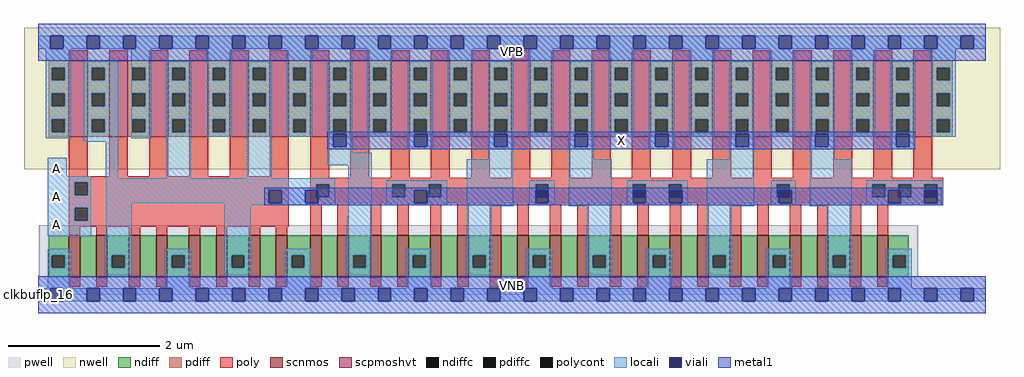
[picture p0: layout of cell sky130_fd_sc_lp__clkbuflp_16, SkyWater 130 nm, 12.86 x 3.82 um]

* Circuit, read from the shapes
.subckt sky130_fd_sc_lp__clkbuflp_16 A VGND VNB VPB VPWR X
XM1 n1 A VGND VNB sky130_fd_pr__nfet_01v8 w=0.55 l=0.15
XM2 n2 A n1 VNB sky130_fd_pr__nfet_01v8 w=0.55 l=0.15
XM3 n3 A n2 VNB sky130_fd_pr__nfet_01v8 w=0.55 l=0.15
XM4 VGND A n3 VNB sky130_fd_pr__nfet_01v8 w=0.55 l=0.15
XM5 n4 A VGND VNB sky130_fd_pr__nfet_01v8 w=0.55 l=0.15
XM6 n2 A n4 VNB sky130_fd_pr__nfet_01v8 w=0.55 l=0.15
XM7 n5 A n2 VNB sky130_fd_pr__nfet_01v8 w=0.55 l=0.15
XM8 VGND A n5 VNB sky130_fd_pr__nfet_01v8 w=0.55 l=0.15
XM9 n6 n2 VGND VNB sky130_fd_pr__nfet_01v8 w=0.55 l=0.15
XM10 X n2 n6 VNB sky130_fd_pr__nfet_01v8 w=0.55 l=0.15
XM11 n7 n2 X VNB sky130_fd_pr__nfet_01v8 w=0.55 l=0.15
XM12 VGND n2 n7 VNB sky130_fd_pr__nfet_01v8 w=0.55 l=0.15
XM13 n8 n2 VGND VNB sky130_fd_pr__nfet_01v8 w=0.55 l=0.15
XM14 X n2 n8 VNB sky130_fd_pr__nfet_01v8 w=0.55 l=0.15
XM15 n9 n2 X VNB sky130_fd_pr__nfet_01v8 w=0.55 l=0.15
XM16 VGND n2 n9 VNB sky130_fd_pr__nfet_01v8 w=0.55 l=0.15
XM17 n10 n2 VGND VNB sky130_fd_pr__nfet_01v8 w=0.55 l=0.15
XM18 X n2 n10 VNB sky130_fd_pr__nfet_01v8 w=0.55 l=0.15
XM19 n11 n2 X VNB sky130_fd_pr__nfet_01v8 w=0.55 l=0.15
XM20 VGND n2 n11 VNB sky130_fd_pr__nfet_01v8 w=0.55 l=0.15
XM21 n12 n2 VGND VNB sky130_fd_pr__nfet_01v8 w=0.55 l=0.15
XM22 X n2 n12 VNB sky130_fd_pr__nfet_01v8 w=0.55 l=0.15
XM23 n13 n2 X VNB sky130_fd_pr__nfet_01v8 w=0.55 l=0.15
XM24 VGND n2 n13 VNB sky130_fd_pr__nfet_01v8 w=0.55 l=0.15
XM25 n14 n2 VGND VNB sky130_fd_pr__nfet_01v8 w=0.55 l=0.15
XM26 X n2 n14 VNB sky130_fd_pr__nfet_01v8 w=0.55 l=0.15
XM27 n15 n2 X VNB sky130_fd_pr__nfet_01v8 w=0.55 l=0.15
XM28 VGND n2 n15 VNB sky130_fd_pr__nfet_01v8 w=0.55 l=0.15
XM29 n2 A VPWR VPB sky130_fd_pr__pfet_01v8_hvt w=1 l=0.25 m=6
XM30 X n2 VPWR VPB sky130_fd_pr__pfet_01v8_hvt w=1 l=0.25 m=16
.ends

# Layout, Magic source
magic
tech sky130A
magscale 1 2
<< nwell >>
rect -38 331 2534 704
<< pwell >>
rect 1 49 2319 183
rect 0 0 2496 49
<< scnmos >>
rect 80 47 110 157
rect 152 47 182 157
rect 238 47 268 157
rect 310 47 340 157
rect 396 47 426 157
rect 468 47 498 157
rect 554 47 584 157
rect 626 47 656 157
rect 716 47 746 157
rect 788 47 818 157
rect 874 47 904 157
rect 946 47 976 157
rect 1032 47 1062 157
rect 1104 47 1134 157
rect 1190 47 1220 157
rect 1262 47 1292 157
rect 1348 47 1378 157
rect 1420 47 1450 157
rect 1506 47 1536 157
rect 1578 47 1608 157
rect 1664 47 1694 157
rect 1736 47 1766 157
rect 1822 47 1852 157
rect 1894 47 1924 157
rect 1980 47 2010 157
rect 2052 47 2082 157
rect 2138 47 2168 157
rect 2210 47 2240 157
<< scpmoshvt >>
rect 80 417 130 617
rect 186 417 236 617
rect 292 417 342 617
rect 398 417 448 617
rect 504 417 554 617
rect 610 417 660 617
rect 716 417 766 617
rect 822 417 872 617
rect 928 417 978 617
rect 1034 417 1084 617
rect 1140 417 1190 617
rect 1246 417 1296 617
rect 1352 417 1402 617
rect 1458 417 1508 617
rect 1564 417 1614 617
rect 1670 417 1720 617
rect 1776 417 1826 617
rect 1882 417 1932 617
rect 1988 417 2038 617
rect 2094 417 2144 617
rect 2200 417 2250 617
rect 2306 417 2356 617
<< ndiff >>
rect 27 105 80 157
rect 27 71 35 105
rect 69 71 80 105
rect 27 47 80 71
rect 110 47 152 157
rect 182 105 238 157
rect 182 71 193 105
rect 227 71 238 105
rect 182 47 238 71
rect 268 47 310 157
rect 340 105 396 157
rect 340 71 351 105
rect 385 71 396 105
rect 340 47 396 71
rect 426 47 468 157
rect 498 105 554 157
rect 498 71 509 105
rect 543 71 554 105
rect 498 47 554 71
rect 584 47 626 157
rect 656 105 716 157
rect 656 71 667 105
rect 701 71 716 105
rect 656 47 716 71
rect 746 47 788 157
rect 818 105 874 157
rect 818 71 829 105
rect 863 71 874 105
rect 818 47 874 71
rect 904 47 946 157
rect 976 105 1032 157
rect 976 71 987 105
rect 1021 71 1032 105
rect 976 47 1032 71
rect 1062 47 1104 157
rect 1134 105 1190 157
rect 1134 71 1145 105
rect 1179 71 1190 105
rect 1134 47 1190 71
rect 1220 47 1262 157
rect 1292 105 1348 157
rect 1292 71 1303 105
rect 1337 71 1348 105
rect 1292 47 1348 71
rect 1378 47 1420 157
rect 1450 105 1506 157
rect 1450 71 1461 105
rect 1495 71 1506 105
rect 1450 47 1506 71
rect 1536 47 1578 157
rect 1608 105 1664 157
rect 1608 71 1619 105
rect 1653 71 1664 105
rect 1608 47 1664 71
rect 1694 47 1736 157
rect 1766 105 1822 157
rect 1766 71 1777 105
rect 1811 71 1822 105
rect 1766 47 1822 71
rect 1852 47 1894 157
rect 1924 105 1980 157
rect 1924 71 1935 105
rect 1969 71 1980 105
rect 1924 47 1980 71
rect 2010 47 2052 157
rect 2082 105 2138 157
rect 2082 71 2093 105
rect 2127 71 2138 105
rect 2082 47 2138 71
rect 2168 47 2210 157
rect 2240 105 2293 157
rect 2240 71 2251 105
rect 2285 71 2293 105
rect 2240 47 2293 71
<< pdiff >>
rect 27 599 80 617
rect 27 565 35 599
rect 69 565 80 599
rect 27 531 80 565
rect 27 497 35 531
rect 69 497 80 531
rect 27 463 80 497
rect 27 429 35 463
rect 69 429 80 463
rect 27 417 80 429
rect 130 599 186 617
rect 130 565 141 599
rect 175 565 186 599
rect 130 531 186 565
rect 130 497 141 531
rect 175 497 186 531
rect 130 463 186 497
rect 130 429 141 463
rect 175 429 186 463
rect 130 417 186 429
rect 236 599 292 617
rect 236 565 247 599
rect 281 565 292 599
rect 236 531 292 565
rect 236 497 247 531
rect 281 497 292 531
rect 236 463 292 497
rect 236 429 247 463
rect 281 429 292 463
rect 236 417 292 429
rect 342 599 398 617
rect 342 565 353 599
rect 387 565 398 599
rect 342 531 398 565
rect 342 497 353 531
rect 387 497 398 531
rect 342 463 398 497
rect 342 429 353 463
rect 387 429 398 463
rect 342 417 398 429
rect 448 599 504 617
rect 448 565 459 599
rect 493 565 504 599
rect 448 531 504 565
rect 448 497 459 531
rect 493 497 504 531
rect 448 463 504 497
rect 448 429 459 463
rect 493 429 504 463
rect 448 417 504 429
rect 554 599 610 617
rect 554 565 565 599
rect 599 565 610 599
rect 554 531 610 565
rect 554 497 565 531
rect 599 497 610 531
rect 554 463 610 497
rect 554 429 565 463
rect 599 429 610 463
rect 554 417 610 429
rect 660 599 716 617
rect 660 565 671 599
rect 705 565 716 599
rect 660 531 716 565
rect 660 497 671 531
rect 705 497 716 531
rect 660 463 716 497
rect 660 429 671 463
rect 705 429 716 463
rect 660 417 716 429
rect 766 599 822 617
rect 766 565 777 599
rect 811 565 822 599
rect 766 531 822 565
rect 766 497 777 531
rect 811 497 822 531
rect 766 463 822 497
rect 766 429 777 463
rect 811 429 822 463
rect 766 417 822 429
rect 872 599 928 617
rect 872 565 883 599
rect 917 565 928 599
rect 872 531 928 565
rect 872 497 883 531
rect 917 497 928 531
rect 872 463 928 497
rect 872 429 883 463
rect 917 429 928 463
rect 872 417 928 429
rect 978 599 1034 617
rect 978 565 989 599
rect 1023 565 1034 599
rect 978 531 1034 565
rect 978 497 989 531
rect 1023 497 1034 531
rect 978 463 1034 497
rect 978 429 989 463
rect 1023 429 1034 463
rect 978 417 1034 429
rect 1084 599 1140 617
rect 1084 565 1095 599
rect 1129 565 1140 599
rect 1084 531 1140 565
rect 1084 497 1095 531
rect 1129 497 1140 531
rect 1084 463 1140 497
rect 1084 429 1095 463
rect 1129 429 1140 463
rect 1084 417 1140 429
rect 1190 599 1246 617
rect 1190 565 1201 599
rect 1235 565 1246 599
rect 1190 531 1246 565
rect 1190 497 1201 531
rect 1235 497 1246 531
rect 1190 463 1246 497
rect 1190 429 1201 463
rect 1235 429 1246 463
rect 1190 417 1246 429
rect 1296 599 1352 617
rect 1296 565 1307 599
rect 1341 565 1352 599
rect 1296 531 1352 565
rect 1296 497 1307 531
rect 1341 497 1352 531
rect 1296 463 1352 497
rect 1296 429 1307 463
rect 1341 429 1352 463
rect 1296 417 1352 429
rect 1402 599 1458 617
rect 1402 565 1413 599
rect 1447 565 1458 599
rect 1402 531 1458 565
rect 1402 497 1413 531
rect 1447 497 1458 531
rect 1402 463 1458 497
rect 1402 429 1413 463
rect 1447 429 1458 463
rect 1402 417 1458 429
rect 1508 599 1564 617
rect 1508 565 1519 599
rect 1553 565 1564 599
rect 1508 531 1564 565
rect 1508 497 1519 531
rect 1553 497 1564 531
rect 1508 463 1564 497
rect 1508 429 1519 463
rect 1553 429 1564 463
rect 1508 417 1564 429
rect 1614 599 1670 617
rect 1614 565 1625 599
rect 1659 565 1670 599
rect 1614 531 1670 565
rect 1614 497 1625 531
rect 1659 497 1670 531
rect 1614 463 1670 497
rect 1614 429 1625 463
rect 1659 429 1670 463
rect 1614 417 1670 429
rect 1720 599 1776 617
rect 1720 565 1731 599
rect 1765 565 1776 599
rect 1720 531 1776 565
rect 1720 497 1731 531
rect 1765 497 1776 531
rect 1720 463 1776 497
rect 1720 429 1731 463
rect 1765 429 1776 463
rect 1720 417 1776 429
rect 1826 599 1882 617
rect 1826 565 1837 599
rect 1871 565 1882 599
rect 1826 531 1882 565
rect 1826 497 1837 531
rect 1871 497 1882 531
rect 1826 463 1882 497
rect 1826 429 1837 463
rect 1871 429 1882 463
rect 1826 417 1882 429
rect 1932 599 1988 617
rect 1932 565 1943 599
rect 1977 565 1988 599
rect 1932 531 1988 565
rect 1932 497 1943 531
rect 1977 497 1988 531
rect 1932 463 1988 497
rect 1932 429 1943 463
rect 1977 429 1988 463
rect 1932 417 1988 429
rect 2038 599 2094 617
rect 2038 565 2049 599
rect 2083 565 2094 599
rect 2038 531 2094 565
rect 2038 497 2049 531
rect 2083 497 2094 531
rect 2038 463 2094 497
rect 2038 429 2049 463
rect 2083 429 2094 463
rect 2038 417 2094 429
rect 2144 599 2200 617
rect 2144 565 2155 599
rect 2189 565 2200 599
rect 2144 531 2200 565
rect 2144 497 2155 531
rect 2189 497 2200 531
rect 2144 463 2200 497
rect 2144 429 2155 463
rect 2189 429 2200 463
rect 2144 417 2200 429
rect 2250 599 2306 617
rect 2250 565 2261 599
rect 2295 565 2306 599
rect 2250 531 2306 565
rect 2250 497 2261 531
rect 2295 497 2306 531
rect 2250 463 2306 497
rect 2250 429 2261 463
rect 2295 429 2306 463
rect 2250 417 2306 429
rect 2356 599 2409 617
rect 2356 565 2367 599
rect 2401 565 2409 599
rect 2356 531 2409 565
rect 2356 497 2367 531
rect 2401 497 2409 531
rect 2356 463 2409 497
rect 2356 429 2367 463
rect 2401 429 2409 463
rect 2356 417 2409 429
<< ndiffc >>
rect 35 71 69 105
rect 193 71 227 105
rect 351 71 385 105
rect 509 71 543 105
rect 667 71 701 105
rect 829 71 863 105
rect 987 71 1021 105
rect 1145 71 1179 105
rect 1303 71 1337 105
rect 1461 71 1495 105
rect 1619 71 1653 105
rect 1777 71 1811 105
rect 1935 71 1969 105
rect 2093 71 2127 105
rect 2251 71 2285 105
<< pdiffc >>
rect 35 565 69 599
rect 35 497 69 531
rect 35 429 69 463
rect 141 565 175 599
rect 141 497 175 531
rect 141 429 175 463
rect 247 565 281 599
rect 247 497 281 531
rect 247 429 281 463
rect 353 565 387 599
rect 353 497 387 531
rect 353 429 387 463
rect 459 565 493 599
rect 459 497 493 531
rect 459 429 493 463
rect 565 565 599 599
rect 565 497 599 531
rect 565 429 599 463
rect 671 565 705 599
rect 671 497 705 531
rect 671 429 705 463
rect 777 565 811 599
rect 777 497 811 531
rect 777 429 811 463
rect 883 565 917 599
rect 883 497 917 531
rect 883 429 917 463
rect 989 565 1023 599
rect 989 497 1023 531
rect 989 429 1023 463
rect 1095 565 1129 599
rect 1095 497 1129 531
rect 1095 429 1129 463
rect 1201 565 1235 599
rect 1201 497 1235 531
rect 1201 429 1235 463
rect 1307 565 1341 599
rect 1307 497 1341 531
rect 1307 429 1341 463
rect 1413 565 1447 599
rect 1413 497 1447 531
rect 1413 429 1447 463
rect 1519 565 1553 599
rect 1519 497 1553 531
rect 1519 429 1553 463
rect 1625 565 1659 599
rect 1625 497 1659 531
rect 1625 429 1659 463
rect 1731 565 1765 599
rect 1731 497 1765 531
rect 1731 429 1765 463
rect 1837 565 1871 599
rect 1837 497 1871 531
rect 1837 429 1871 463
rect 1943 565 1977 599
rect 1943 497 1977 531
rect 1943 429 1977 463
rect 2049 565 2083 599
rect 2049 497 2083 531
rect 2049 429 2083 463
rect 2155 565 2189 599
rect 2155 497 2189 531
rect 2155 429 2189 463
rect 2261 565 2295 599
rect 2261 497 2295 531
rect 2261 429 2295 463
rect 2367 565 2401 599
rect 2367 497 2401 531
rect 2367 429 2401 463
<< poly >>
rect 80 617 130 645
rect 186 617 236 645
rect 292 617 342 645
rect 398 617 448 645
rect 504 617 554 645
rect 610 617 660 645
rect 716 617 766 645
rect 822 617 872 645
rect 928 617 978 645
rect 1034 617 1084 645
rect 1140 617 1190 645
rect 1246 617 1296 645
rect 1352 617 1402 645
rect 1458 617 1508 645
rect 1564 617 1614 645
rect 1670 617 1720 645
rect 1776 617 1826 645
rect 1882 617 1932 645
rect 1988 617 2038 645
rect 2094 617 2144 645
rect 2200 617 2250 645
rect 2306 617 2356 645
rect 80 313 130 417
rect 186 313 236 417
rect 292 313 342 417
rect 398 313 448 417
rect 504 313 554 417
rect 610 313 660 417
rect 80 297 660 313
rect 80 263 96 297
rect 130 263 660 297
rect 80 229 660 263
rect 80 195 96 229
rect 130 195 660 229
rect 80 179 660 195
rect 716 309 766 417
rect 822 309 872 417
rect 928 309 978 417
rect 1034 309 1084 417
rect 1140 309 1190 417
rect 1246 309 1296 417
rect 1352 309 1402 417
rect 1458 309 1508 417
rect 1564 309 1614 417
rect 1670 309 1720 417
rect 1776 309 1826 417
rect 1882 309 1932 417
rect 1988 309 2038 417
rect 2094 309 2144 417
rect 2200 309 2250 417
rect 2306 309 2356 417
rect 716 291 2384 309
rect 716 257 732 291
rect 766 257 933 291
rect 967 257 1028 291
rect 1062 257 1310 291
rect 1344 257 1566 291
rect 1600 257 1661 291
rect 1695 257 1946 291
rect 1980 257 2198 291
rect 2232 257 2266 291
rect 2300 257 2334 291
rect 2368 257 2384 291
rect 716 241 2384 257
rect 80 157 110 179
rect 152 157 182 179
rect 238 157 268 179
rect 310 157 340 179
rect 396 157 426 179
rect 468 157 498 179
rect 554 157 584 179
rect 626 157 656 179
rect 716 157 746 241
rect 788 157 818 241
rect 874 157 904 241
rect 946 157 976 241
rect 1032 157 1062 241
rect 1104 157 1134 241
rect 1190 157 1220 241
rect 1262 157 1292 241
rect 1348 157 1378 241
rect 1420 157 1450 241
rect 1506 157 1536 241
rect 1578 157 1608 241
rect 1664 157 1694 241
rect 1736 157 1766 241
rect 1822 157 1852 241
rect 1894 157 1924 241
rect 1980 157 2010 241
rect 2052 157 2082 241
rect 2138 157 2168 241
rect 2210 157 2240 241
rect 80 21 110 47
rect 152 21 182 47
rect 238 21 268 47
rect 310 21 340 47
rect 396 21 426 47
rect 468 21 498 47
rect 554 21 584 47
rect 626 21 656 47
rect 716 21 746 47
rect 788 21 818 47
rect 874 21 904 47
rect 946 21 976 47
rect 1032 21 1062 47
rect 1104 21 1134 47
rect 1190 21 1220 47
rect 1262 21 1292 47
rect 1348 21 1378 47
rect 1420 21 1450 47
rect 1506 21 1536 47
rect 1578 21 1608 47
rect 1664 21 1694 47
rect 1736 21 1766 47
rect 1822 21 1852 47
rect 1894 21 1924 47
rect 1980 21 2010 47
rect 2052 21 2082 47
rect 2138 21 2168 47
rect 2210 21 2240 47
<< polycont >>
rect 96 263 130 297
rect 96 195 130 229
rect 732 257 766 291
rect 933 257 967 291
rect 1028 257 1062 291
rect 1310 257 1344 291
rect 1566 257 1600 291
rect 1661 257 1695 291
rect 1946 257 1980 291
rect 2198 257 2232 291
rect 2266 257 2300 291
rect 2334 257 2368 291
<< locali >>
rect 0 649 31 683
rect 65 649 127 683
rect 161 649 223 683
rect 257 649 319 683
rect 353 649 415 683
rect 449 649 511 683
rect 545 649 607 683
rect 641 649 703 683
rect 737 649 799 683
rect 833 649 895 683
rect 929 649 991 683
rect 1025 649 1087 683
rect 1121 649 1183 683
rect 1217 649 1279 683
rect 1313 649 1375 683
rect 1409 649 1471 683
rect 1505 649 1567 683
rect 1601 649 1663 683
rect 1697 649 1759 683
rect 1793 649 1855 683
rect 1889 649 1951 683
rect 1985 649 2047 683
rect 2081 649 2143 683
rect 2177 649 2239 683
rect 2273 649 2335 683
rect 2369 649 2431 683
rect 2465 649 2496 683
rect 19 599 85 649
rect 19 565 35 599
rect 69 565 85 599
rect 19 531 85 565
rect 19 497 35 531
rect 69 497 85 531
rect 19 463 85 497
rect 19 429 35 463
rect 69 429 85 463
rect 19 413 85 429
rect 119 599 211 615
rect 119 565 141 599
rect 175 565 211 599
rect 119 531 211 565
rect 119 497 141 531
rect 175 497 211 531
rect 119 463 211 497
rect 119 429 141 463
rect 175 429 211 463
rect 119 403 211 429
rect 245 599 297 649
rect 245 565 247 599
rect 281 565 297 599
rect 245 531 297 565
rect 245 497 247 531
rect 281 497 297 531
rect 245 463 297 497
rect 245 429 247 463
rect 281 429 297 463
rect 245 413 297 429
rect 337 599 403 615
rect 337 565 353 599
rect 387 565 403 599
rect 337 531 403 565
rect 337 497 353 531
rect 387 497 403 531
rect 337 463 403 497
rect 337 429 353 463
rect 387 429 403 463
rect 25 313 74 361
rect 25 297 139 313
rect 25 263 96 297
rect 130 263 139 297
rect 25 229 139 263
rect 25 195 96 229
rect 130 195 139 229
rect 25 155 139 195
rect 177 307 211 403
rect 337 307 403 429
rect 443 599 509 649
rect 443 565 459 599
rect 493 565 509 599
rect 443 531 509 565
rect 443 497 459 531
rect 493 497 509 531
rect 443 463 509 497
rect 443 429 459 463
rect 493 429 509 463
rect 443 417 509 429
rect 549 599 615 615
rect 549 565 565 599
rect 599 565 615 599
rect 549 531 615 565
rect 549 497 565 531
rect 599 497 615 531
rect 549 463 615 497
rect 549 429 565 463
rect 599 429 615 463
rect 549 307 615 429
rect 655 599 721 649
rect 655 565 671 599
rect 705 565 721 599
rect 655 531 721 565
rect 655 497 671 531
rect 705 497 721 531
rect 655 463 721 497
rect 655 429 671 463
rect 705 429 721 463
rect 655 417 721 429
rect 761 599 827 615
rect 761 565 777 599
rect 811 565 827 599
rect 761 531 827 565
rect 761 497 777 531
rect 811 497 827 531
rect 761 463 827 497
rect 761 429 777 463
rect 811 429 827 463
rect 761 424 827 429
rect 761 390 777 424
rect 811 390 827 424
rect 867 599 933 649
rect 867 565 883 599
rect 917 565 933 599
rect 867 531 933 565
rect 867 497 883 531
rect 917 497 933 531
rect 867 463 933 497
rect 867 429 883 463
rect 917 429 933 463
rect 867 417 933 429
rect 973 599 1039 615
rect 973 565 989 599
rect 1023 565 1039 599
rect 973 531 1039 565
rect 973 497 989 531
rect 1023 497 1039 531
rect 973 463 1039 497
rect 973 429 989 463
rect 1023 429 1039 463
rect 973 424 1039 429
rect 761 375 827 390
rect 973 390 991 424
rect 1025 390 1039 424
rect 1079 599 1145 649
rect 1079 565 1095 599
rect 1129 565 1145 599
rect 1079 531 1145 565
rect 1079 497 1095 531
rect 1129 497 1145 531
rect 1079 463 1145 497
rect 1079 429 1095 463
rect 1129 429 1145 463
rect 1079 417 1145 429
rect 1185 599 1251 615
rect 1185 565 1201 599
rect 1235 565 1251 599
rect 1185 531 1251 565
rect 1185 497 1201 531
rect 1235 497 1251 531
rect 1185 463 1251 497
rect 1185 429 1201 463
rect 1235 429 1251 463
rect 1185 424 1251 429
rect 973 384 1039 390
rect 1185 390 1201 424
rect 1235 390 1251 424
rect 1291 599 1357 649
rect 1291 565 1307 599
rect 1341 565 1357 599
rect 1291 531 1357 565
rect 1291 497 1307 531
rect 1341 497 1357 531
rect 1291 463 1357 497
rect 1291 429 1307 463
rect 1341 429 1357 463
rect 1291 417 1357 429
rect 1397 599 1463 615
rect 1397 565 1413 599
rect 1447 565 1463 599
rect 1397 531 1463 565
rect 1397 497 1413 531
rect 1447 497 1463 531
rect 1397 463 1463 497
rect 1397 429 1413 463
rect 1447 429 1463 463
rect 1397 424 1463 429
rect 761 341 879 375
rect 1185 358 1251 390
rect 177 291 782 307
rect 177 276 732 291
rect 177 242 607 276
rect 641 242 703 276
rect 766 257 782 291
rect 737 242 782 257
rect 177 241 782 242
rect 25 105 85 121
rect 25 71 35 105
rect 69 71 85 105
rect 25 17 85 71
rect 177 105 246 241
rect 490 236 782 241
rect 177 71 193 105
rect 227 71 246 105
rect 177 53 246 71
rect 335 105 401 121
rect 335 71 351 105
rect 385 71 401 105
rect 335 17 401 71
rect 490 105 559 236
rect 816 207 879 341
rect 917 291 1078 302
rect 917 257 933 291
rect 967 276 1028 291
rect 967 257 991 276
rect 917 242 991 257
rect 1025 257 1028 276
rect 1062 257 1078 291
rect 1025 242 1078 257
rect 917 236 1078 242
rect 490 71 509 105
rect 543 71 559 105
rect 490 53 559 71
rect 651 105 717 121
rect 651 71 667 105
rect 701 71 717 105
rect 651 17 717 71
rect 813 105 879 207
rect 1129 234 1251 358
rect 1397 390 1414 424
rect 1448 390 1463 424
rect 1503 599 1569 649
rect 1503 565 1519 599
rect 1553 565 1569 599
rect 1503 531 1569 565
rect 1503 497 1519 531
rect 1553 497 1569 531
rect 1503 463 1569 497
rect 1503 429 1519 463
rect 1553 429 1569 463
rect 1503 417 1569 429
rect 1609 599 1675 615
rect 1609 565 1625 599
rect 1659 565 1675 599
rect 1609 531 1675 565
rect 1609 497 1625 531
rect 1659 497 1675 531
rect 1609 463 1675 497
rect 1609 429 1625 463
rect 1659 429 1675 463
rect 1609 424 1675 429
rect 1397 358 1463 390
rect 1609 390 1626 424
rect 1660 390 1675 424
rect 1715 599 1781 649
rect 1715 565 1731 599
rect 1765 565 1781 599
rect 1715 531 1781 565
rect 1715 497 1731 531
rect 1765 497 1781 531
rect 1715 463 1781 497
rect 1715 429 1731 463
rect 1765 429 1781 463
rect 1715 417 1781 429
rect 1821 599 1887 615
rect 1821 565 1837 599
rect 1871 565 1887 599
rect 1821 531 1887 565
rect 1821 497 1837 531
rect 1871 497 1887 531
rect 1821 463 1887 497
rect 1821 429 1837 463
rect 1871 429 1887 463
rect 1821 424 1887 429
rect 1609 384 1675 390
rect 1821 390 1838 424
rect 1872 390 1887 424
rect 1927 599 1993 649
rect 1927 565 1943 599
rect 1977 565 1993 599
rect 1927 531 1993 565
rect 1927 497 1943 531
rect 1977 497 1993 531
rect 1927 463 1993 497
rect 1927 429 1943 463
rect 1977 429 1993 463
rect 1927 417 1993 429
rect 2033 599 2099 615
rect 2033 565 2049 599
rect 2083 565 2099 599
rect 2033 531 2099 565
rect 2033 497 2049 531
rect 2083 497 2099 531
rect 2033 463 2099 497
rect 2033 429 2049 463
rect 2083 429 2099 463
rect 2033 424 2099 429
rect 1821 358 1887 390
rect 1294 291 1360 302
rect 1294 242 1310 291
rect 1344 242 1360 291
rect 1294 236 1360 242
rect 1397 234 1511 358
rect 1550 291 1711 302
rect 1550 257 1566 291
rect 1600 276 1661 291
rect 1695 276 1711 291
rect 1601 257 1661 276
rect 1550 242 1567 257
rect 1601 242 1663 257
rect 1697 242 1711 276
rect 1550 236 1711 242
rect 813 71 829 105
rect 863 71 879 105
rect 813 53 879 71
rect 971 105 1037 121
rect 971 71 987 105
rect 1021 71 1037 105
rect 971 17 1037 71
rect 1129 105 1195 234
rect 1129 71 1145 105
rect 1179 71 1195 105
rect 1129 53 1195 71
rect 1287 105 1353 121
rect 1287 71 1303 105
rect 1337 71 1353 105
rect 1287 17 1353 71
rect 1445 105 1511 234
rect 1761 234 1887 358
rect 2033 390 2047 424
rect 2081 390 2099 424
rect 2139 599 2205 649
rect 2139 565 2155 599
rect 2189 565 2205 599
rect 2139 531 2205 565
rect 2139 497 2155 531
rect 2189 497 2205 531
rect 2139 463 2205 497
rect 2139 429 2155 463
rect 2189 429 2205 463
rect 2139 417 2205 429
rect 2245 599 2311 615
rect 2245 565 2261 599
rect 2295 565 2311 599
rect 2245 531 2311 565
rect 2245 497 2261 531
rect 2295 497 2311 531
rect 2245 463 2311 497
rect 2245 429 2261 463
rect 2295 429 2311 463
rect 2245 424 2311 429
rect 2033 358 2099 390
rect 2245 390 2261 424
rect 2295 390 2311 424
rect 2351 599 2417 649
rect 2351 565 2367 599
rect 2401 565 2417 599
rect 2351 531 2417 565
rect 2351 497 2367 531
rect 2401 497 2417 531
rect 2351 463 2417 497
rect 2351 429 2367 463
rect 2401 429 2417 463
rect 2351 417 2417 429
rect 2245 384 2311 390
rect 1930 291 1996 302
rect 1930 257 1946 291
rect 1980 276 1996 291
rect 1930 242 1951 257
rect 1985 242 1996 276
rect 1930 236 1996 242
rect 2033 234 2143 358
rect 2182 291 2384 302
rect 2182 257 2198 291
rect 2232 276 2266 291
rect 2232 257 2239 276
rect 2300 257 2334 291
rect 2368 276 2384 291
rect 2182 242 2239 257
rect 2273 242 2335 257
rect 2369 242 2384 276
rect 2182 236 2384 242
rect 1445 71 1461 105
rect 1495 71 1511 105
rect 1445 53 1511 71
rect 1603 105 1669 121
rect 1603 71 1619 105
rect 1653 71 1669 105
rect 1603 17 1669 71
rect 1761 105 1827 234
rect 1761 71 1777 105
rect 1811 71 1827 105
rect 1761 53 1827 71
rect 1919 105 1985 121
rect 1919 71 1935 105
rect 1969 71 1985 105
rect 1919 17 1985 71
rect 2077 105 2143 234
rect 2077 71 2093 105
rect 2127 71 2143 105
rect 2077 53 2143 71
rect 2235 105 2301 121
rect 2235 71 2251 105
rect 2285 71 2301 105
rect 2235 17 2301 71
rect 0 -17 31 17
rect 65 -17 127 17
rect 161 -17 223 17
rect 257 -17 319 17
rect 353 -17 415 17
rect 449 -17 511 17
rect 545 -17 607 17
rect 641 -17 703 17
rect 737 -17 799 17
rect 833 -17 895 17
rect 929 -17 991 17
rect 1025 -17 1087 17
rect 1121 -17 1183 17
rect 1217 -17 1279 17
rect 1313 -17 1375 17
rect 1409 -17 1471 17
rect 1505 -17 1567 17
rect 1601 -17 1663 17
rect 1697 -17 1759 17
rect 1793 -17 1855 17
rect 1889 -17 1951 17
rect 1985 -17 2047 17
rect 2081 -17 2143 17
rect 2177 -17 2239 17
rect 2273 -17 2335 17
rect 2369 -17 2431 17
rect 2465 -17 2496 17
<< viali >>
rect 31 649 65 683
rect 127 649 161 683
rect 223 649 257 683
rect 319 649 353 683
rect 415 649 449 683
rect 511 649 545 683
rect 607 649 641 683
rect 703 649 737 683
rect 799 649 833 683
rect 895 649 929 683
rect 991 649 1025 683
rect 1087 649 1121 683
rect 1183 649 1217 683
rect 1279 649 1313 683
rect 1375 649 1409 683
rect 1471 649 1505 683
rect 1567 649 1601 683
rect 1663 649 1697 683
rect 1759 649 1793 683
rect 1855 649 1889 683
rect 1951 649 1985 683
rect 2047 649 2081 683
rect 2143 649 2177 683
rect 2239 649 2273 683
rect 2335 649 2369 683
rect 2431 649 2465 683
rect 777 390 811 424
rect 991 390 1025 424
rect 1201 390 1235 424
rect 607 242 641 276
rect 703 257 732 276
rect 732 257 737 276
rect 703 242 737 257
rect 991 242 1025 276
rect 1414 390 1448 424
rect 1626 390 1660 424
rect 1838 390 1872 424
rect 1310 257 1344 276
rect 1310 242 1344 257
rect 1567 257 1600 276
rect 1600 257 1601 276
rect 1663 257 1695 276
rect 1695 257 1697 276
rect 1567 242 1601 257
rect 1663 242 1697 257
rect 2047 390 2081 424
rect 2261 390 2295 424
rect 1951 257 1980 276
rect 1980 257 1985 276
rect 1951 242 1985 257
rect 2239 257 2266 276
rect 2266 257 2273 276
rect 2335 257 2368 276
rect 2368 257 2369 276
rect 2239 242 2273 257
rect 2335 242 2369 257
rect 31 -17 65 17
rect 127 -17 161 17
rect 223 -17 257 17
rect 319 -17 353 17
rect 415 -17 449 17
rect 511 -17 545 17
rect 607 -17 641 17
rect 703 -17 737 17
rect 799 -17 833 17
rect 895 -17 929 17
rect 991 -17 1025 17
rect 1087 -17 1121 17
rect 1183 -17 1217 17
rect 1279 -17 1313 17
rect 1375 -17 1409 17
rect 1471 -17 1505 17
rect 1567 -17 1601 17
rect 1663 -17 1697 17
rect 1759 -17 1793 17
rect 1855 -17 1889 17
rect 1951 -17 1985 17
rect 2047 -17 2081 17
rect 2143 -17 2177 17
rect 2239 -17 2273 17
rect 2335 -17 2369 17
rect 2431 -17 2465 17
<< metal1 >>
rect 0 683 2496 715
rect 0 649 31 683
rect 65 649 127 683
rect 161 649 223 683
rect 257 649 319 683
rect 353 649 415 683
rect 449 649 511 683
rect 545 649 607 683
rect 641 649 703 683
rect 737 649 799 683
rect 833 649 895 683
rect 929 649 991 683
rect 1025 649 1087 683
rect 1121 649 1183 683
rect 1217 649 1279 683
rect 1313 649 1375 683
rect 1409 649 1471 683
rect 1505 649 1567 683
rect 1601 649 1663 683
rect 1697 649 1759 683
rect 1793 649 1855 683
rect 1889 649 1951 683
rect 1985 649 2047 683
rect 2081 649 2143 683
rect 2177 649 2239 683
rect 2273 649 2335 683
rect 2369 649 2431 683
rect 2465 649 2496 683
rect 0 617 2496 649
rect 761 424 2311 430
rect 761 390 777 424
rect 811 390 991 424
rect 1025 390 1201 424
rect 1235 390 1414 424
rect 1448 390 1626 424
rect 1660 390 1838 424
rect 1872 390 2047 424
rect 2081 390 2261 424
rect 2295 390 2311 424
rect 761 384 2311 390
rect 595 276 2381 282
rect 595 242 607 276
rect 641 242 703 276
rect 737 242 991 276
rect 1025 242 1310 276
rect 1344 242 1567 276
rect 1601 242 1663 276
rect 1697 242 1951 276
rect 1985 242 2239 276
rect 2273 242 2335 276
rect 2369 242 2381 276
rect 595 236 2381 242
rect 0 17 2496 49
rect 0 -17 31 17
rect 65 -17 127 17
rect 161 -17 223 17
rect 257 -17 319 17
rect 353 -17 415 17
rect 449 -17 511 17
rect 545 -17 607 17
rect 641 -17 703 17
rect 737 -17 799 17
rect 833 -17 895 17
rect 929 -17 991 17
rect 1025 -17 1087 17
rect 1121 -17 1183 17
rect 1217 -17 1279 17
rect 1313 -17 1375 17
rect 1409 -17 1471 17
rect 1505 -17 1567 17
rect 1601 -17 1663 17
rect 1697 -17 1759 17
rect 1793 -17 1855 17
rect 1889 -17 1951 17
rect 1985 -17 2047 17
rect 2081 -17 2143 17
rect 2177 -17 2239 17
rect 2273 -17 2335 17
rect 2369 -17 2431 17
rect 2465 -17 2496 17
rect 0 -49 2496 -17
<< labels >>
flabel pwell s 0 0 2496 49 0 FreeSans 200 0 0 0 VNB
port 3 nsew ground bidirectional
flabel nwell s 0 617 2496 666 0 FreeSans 200 0 0 0 VPB
port 4 nsew power bidirectional
rlabel comment s 0 0 0 0 4 clkbuflp_16
flabel metal1 s 761 384 2311 430 0 FreeSans 400 0 0 0 X
port 6 nsew signal output
flabel metal1 s 0 617 2496 666 0 FreeSans 340 0 0 0 VPWR
port 5 nsew power bidirectional
flabel metal1 s 0 0 2496 49 0 FreeSans 340 0 0 0 VGND
port 2 nsew ground bidirectional
flabel locali s 31 168 65 202 0 FreeSans 340 0 0 0 A
port 1 nsew signal input
flabel locali s 31 316 65 350 0 FreeSans 340 0 0 0 A
port 1 nsew signal input
flabel locali s 31 242 65 276 0 FreeSans 340 0 0 0 A
port 1 nsew signal input
<< properties >>
string LEFsite unit
string LEFclass CORE
string FIXED_BBOX 0 0 2496 666
string GDS_FILE $PDKPATH/libs.ref/sky130_fd_sc_lp/gds/sky130_fd_sc_lp.gds
string LEFsymmetry X Y R90
string GDS_END 5421446
string GDS_START 5405212
<< end >>
